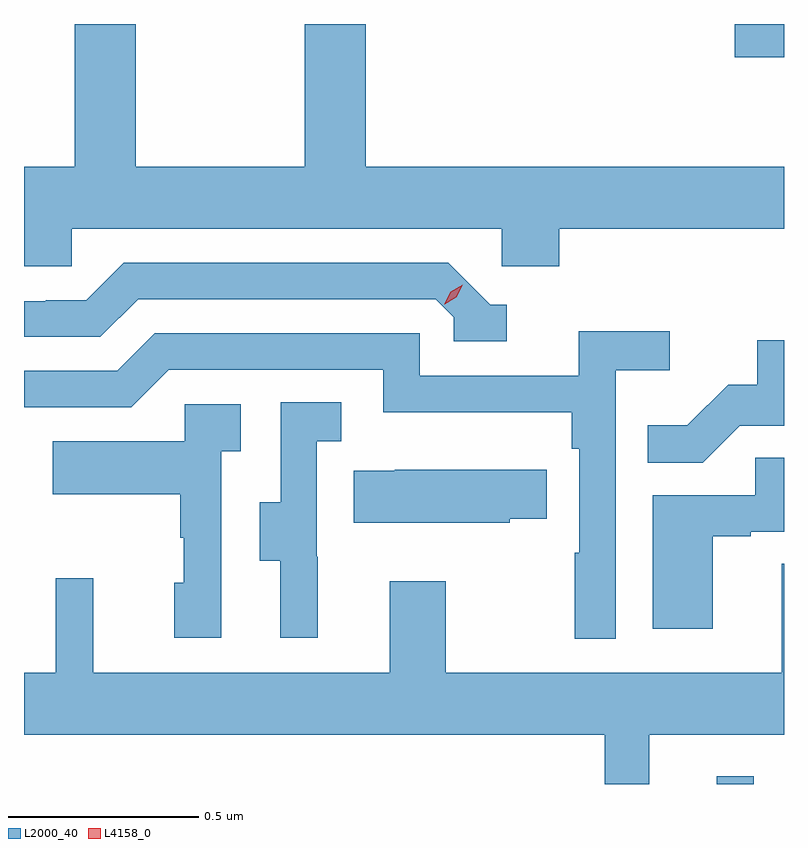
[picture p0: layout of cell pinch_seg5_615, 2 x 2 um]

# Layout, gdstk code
import gdstk
lib = gdstk.Library(unit=1e-6, precision=1e-09)
def R(c, l, rs):  # rectangles x0, y0, x1, y1
    for r in rs: c.add(gdstk.rectangle(r[:2], r[2:], *l))
def P(c, l, *ps):  # polygons
    for p in ps: c.add(gdstk.Polygon(p, *l))
L2000_40 = (2000, 40)
L4158_0 = (4158, 0)

pinch_seg5_615 = lib.new_cell('pinch_seg5_615')
R(pinch_seg5_615, L2000_40, [(1078.598,872.615,1078.695,872.635), (1078.645,874.528,1078.775,874.615)])
P(pinch_seg5_615, L2000_40, [(1078.032,873.978),(1078.184,873.978),(1078.184,874.076),(1078.775,874.076),(1078.775,874.24),(1077.674,874.24),(1077.674,874.615),(1077.514,874.615),(1077.514,874.24),(1077.069,874.24),(1077.069,874.615),(1076.909,874.615),(1076.909,874.24),(1076.775,874.24),(1076.775,873.978),(1076.901,873.978),(1076.901,874.076),(1078.032,874.076)],
  [(1078.045,873.876),(1078.002,873.876),(1077.891,873.987),(1077.038,873.987),(1076.939,873.888),(1076.832,873.888),(1076.832,873.885),(1076.775,873.885),(1076.775,873.792),(1076.976,873.792),(1077.075,873.891),(1077.858,873.891),(1077.906,873.843),(1077.906,873.78),(1078.045,873.78)],
  [(1078.332,873.704),(1078.474,873.704),(1078.474,873.806),(1078.235,873.806),(1078.235,873.69),(1077.816,873.69),(1077.816,873.801),(1077.119,873.801),(1077.02,873.702),(1076.775,873.702),(1076.775,873.606),(1077.057,873.606),(1077.156,873.705),(1077.72,873.705),(1077.72,873.593),(1078.216,873.593),(1078.216,873.497),(1078.236,873.497),(1078.236,873.224),(1078.224,873.224),(1078.224,872.997),(1078.332,872.997)],
  [(1078.659,873.558),(1078.775,873.558),(1078.775,873.783),(1078.705,873.783),(1078.705,873.666),(1078.628,873.666),(1078.521,873.559),(1078.417,873.559),(1078.417,873.46),(1078.561,873.46)],
  [(1077.548,873.213),(1077.546,873.213),(1077.546,873.517),(1077.61,873.517),(1077.61,873.62),(1077.45,873.62),(1077.45,873.357),(1077.395,873.357),(1077.395,873.202),(1077.449,873.202),(1077.449,873),(1077.548,873)],
  [(1077.294,873.491),(1077.346,873.491),(1077.346,873.615),(1077.198,873.615),(1077.198,873.517),(1076.851,873.517),(1076.851,873.377),(1077.186,873.377),(1077.186,873.263),(1077.196,873.263),(1077.196,873.144),(1077.17,873.144),(1077.17,873),(1077.294,873)],
  [(1078.588,873.267),(1078.688,873.267),(1078.688,873.279),(1078.775,873.279),(1078.775,873.473),(1078.699,873.473),(1078.699,873.375),(1078.43,873.375),(1078.43,873.024),(1078.588,873.024)],
  [(1078.053,873.313),(1078.151,873.313),(1078.151,873.442),(1077.751,873.442),(1077.751,873.439),(1077.643,873.439),(1077.643,873.302),(1078.053,873.302)],
  [(1078.421,872.744),(1078.775,872.744),(1078.775,873.194),(1078.769,873.194),(1078.769,872.908),(1077.885,872.908),(1077.885,873.148),(1077.737,873.148),(1077.737,872.908),(1076.957,872.908),(1076.957,873.157),(1076.859,873.157),(1076.859,872.908),(1076.775,872.908),(1076.775,872.744),(1078.303,872.744),(1078.303,872.615),(1078.421,872.615)])
P(pinch_seg5_615, L4158_0, [(1077.881,873.877),(1077.881,873.877),(1077.898,873.91),(1077.929,873.929),(1077.93,873.929),(1077.93,873.929),(1077.913,873.896),(1077.882,873.877)])

lib.write_gds('pinch_seg5_615.gds')
